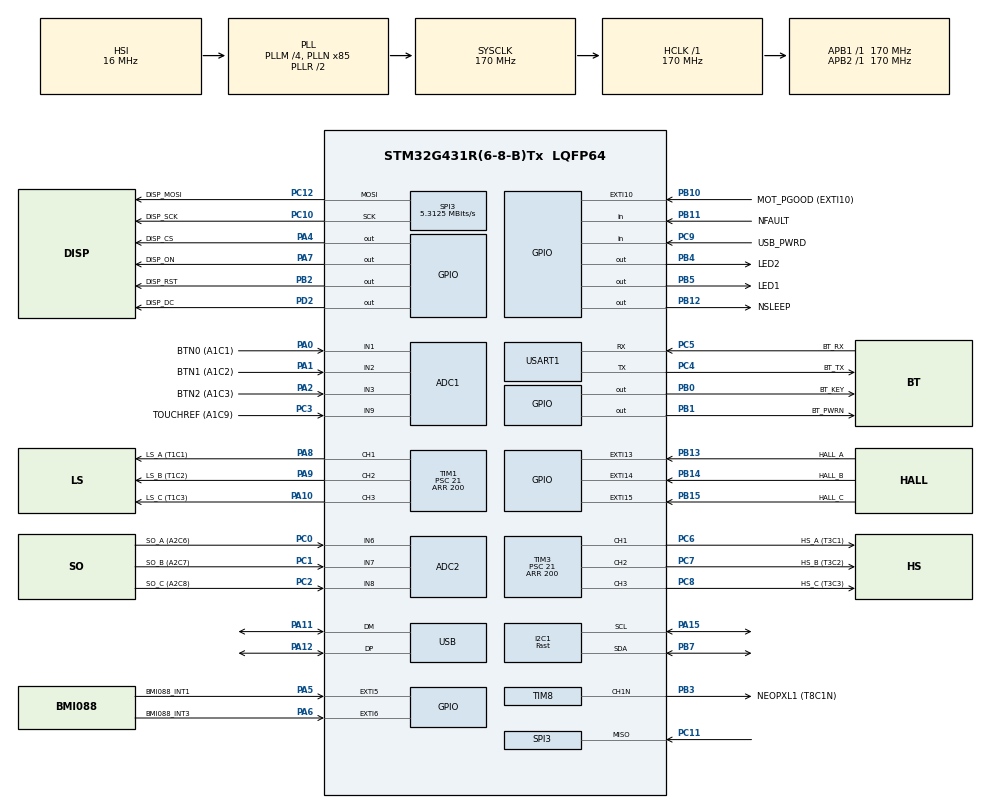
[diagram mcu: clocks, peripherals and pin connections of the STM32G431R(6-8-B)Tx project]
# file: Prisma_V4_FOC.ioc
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ADC1.Channel-0\#ChannelRegularConversion=ADC_CHANNEL_9
ADC1.Channel-1\#ChannelRegularConversion=ADC_CHANNEL_1
ADC1.ClockPrescaler=ADC_CLOCK_ASYNC_DIV4
ADC1.EOCSelection=ADC_EOC_SEQ_CONV
ADC1.NbrOfConversion=2
ADC1.NbrOfConversionFlag=1
ADC1.OffsetNumber-0\#ChannelRegularConversion=ADC_OFFSET_NONE
ADC1.OffsetNumber-1\#ChannelRegularConversion=ADC_OFFSET_NONE
ADC1.Rank-0\#ChannelRegularConversion=1
ADC1.Rank-1\#ChannelRegularConversion=2
ADC1.SamplingTime-0\#ChannelRegularConversion=ADC_SAMPLETIME_24CYCLES_5
ADC1.SamplingTime-1\#ChannelRegularConversion=ADC_SAMPLETIME_6CYCLES_5
ADC1.master=1
ADC2.Channel-0\#ChannelRegularConversion=ADC_CHANNEL_6
ADC2.Channel-1\#ChannelRegularConversion=ADC_CHANNEL_7
ADC2.Channel-2\#ChannelRegularConversion=ADC_CHANNEL_8
ADC2.ClockPrescaler=ADC_CLOCK_ASYNC_DIV4
ADC2.DMAContinuousRequests=ENABLE
ADC2.EOCSelection=ADC_EOC_SEQ_CONV
ADC2.EnableAnalogWatchDog1=true
ADC2.ExternalTrigConv=ADC_EXTERNALTRIG_T1_TRGO2
ADC2.NbrOfConversion=3
ADC2.NbrOfConversionFlag=1
ADC2.OffsetNumber-0\#ChannelRegularConversion=ADC_OFFSET_NONE
ADC2.OffsetNumber-1\#ChannelRegularConversion=ADC_OFFSET_NONE
ADC2.OffsetNumber-2\#ChannelRegularConversion=ADC_OFFSET_NONE
ADC2.Rank-0\#ChannelRegularConversion=1
ADC2.Rank-1\#ChannelRegularConversion=2
ADC2.Rank-2\#ChannelRegularConversion=3
ADC2.SamplingTime-0\#ChannelRegularConversion=ADC_SAMPLETIME_12CYCLES_5
ADC2.SamplingTime-1\#ChannelRegularConversion=ADC_SAMPLETIME_12CYCLES_5
ADC2.SamplingTime-2\#ChannelRegularConversion=ADC_SAMPLETIME_12CYCLES_5
ADC2.WatchdogChannel=ADC_CHANNEL_6
Dma.ADC1.2.Direction=DMA_PERIPH_TO_MEMORY
Dma.ADC1.2.EventEnable=DISABLE
Dma.ADC1.2.Instance=DMA1_Channel2
Dma.ADC1.2.MemDataAlignment=DMA_MDATAALIGN_HALFWORD
Dma.ADC1.2.MemInc=DMA_MINC_ENABLE
Dma.ADC1.2.Mode=DMA_NORMAL
Dma.ADC1.2.PeriphDataAlignment=DMA_PDATAALIGN_HALFWORD
Dma.ADC1.2.PeriphInc=DMA_PINC_DISABLE
Dma.ADC1.2.Polarity=HAL_DMAMUX_REQ_GEN_RISING
Dma.ADC1.2.Priority=DMA_PRIORITY_LOW
Dma.ADC1.2.RequestNumber=1
Dma.ADC1.2.SignalID=NONE
Dma.ADC1.2.SyncEnable=DISABLE
Dma.ADC1.2.SyncPolarity=HAL_DMAMUX_SYNC_NO_EVENT
Dma.ADC1.2.SyncRequestNumber=1
Dma.ADC1.2.SyncSignalID=NONE
Dma.ADC2.0.Direction=DMA_PERIPH_TO_MEMORY
Dma.ADC2.0.EventEnable=DISABLE
Dma.ADC2.0.Instance=DMA1_Channel1
Dma.ADC2.0.MemDataAlignment=DMA_MDATAALIGN_HALFWORD
Dma.ADC2.0.MemInc=DMA_MINC_ENABLE
Dma.ADC2.0.Mode=DMA_CIRCULAR
Dma.ADC2.0.PeriphDataAlignment=DMA_PDATAALIGN_HALFWORD
Dma.ADC2.0.PeriphInc=DMA_PINC_DISABLE
Dma.ADC2.0.Polarity=HAL_DMAMUX_REQ_GEN_RISING
Dma.ADC2.0.Priority=DMA_PRIORITY_LOW
Dma.ADC2.0.RequestNumber=1
Dma.ADC2.0.SignalID=NONE
Dma.ADC2.0.SyncEnable=DISABLE
Dma.ADC2.0.SyncPolarity=HAL_DMAMUX_SYNC_NO_EVENT
Dma.ADC2.0.SyncRequestNumber=1
Dma.ADC2.0.SyncSignalID=NONE
Dma.Request0=ADC2
Dma.Request1=TIM8_CH1
Dma.Request2=ADC1
Dma.TIM8_CH1.1.Direction=DMA_MEMORY_TO_PERIPH
Dma.TIM8_CH1.1.EventEnable=DISABLE
Dma.TIM8_CH1.1.Instance=DMA1_Channel3
Dma.TIM8_CH1.1.MemDataAlignment=DMA_MDATAALIGN_HALFWORD
Dma.TIM8_CH1.1.MemInc=DMA_MINC_ENABLE
Dma.TIM8_CH1.1.Mode=DMA_NORMAL
Dma.TIM8_CH1.1.PeriphDataAlignment=DMA_PDATAALIGN_HALFWORD
Dma.TIM8_CH1.1.PeriphInc=DMA_PINC_DISABLE
Dma.TIM8_CH1.1.Polarity=HAL_DMAMUX_REQ_GEN_RISING
Dma.TIM8_CH1.1.Priority=DMA_PRIORITY_LOW
Dma.TIM8_CH1.1.RequestNumber=1
Dma.TIM8_CH1.1.SignalID=NONE
Dma.TIM8_CH1.1.SyncEnable=DISABLE
Dma.TIM8_CH1.1.SyncPolarity=HAL_DMAMUX_SYNC_NO_EVENT
Dma.TIM8_CH1.1.SyncRequestNumber=1
Dma.TIM8_CH1.1.SyncSignalID=NONE
I2C1.I2C_Speed_Mode=I2C_Fast
I2C1.Timing=0x40621236
Mcu.Family=STM32G4
Mcu.Name=STM32G431R(6-8-B)Tx
Mcu.Package=LQFP64
NVIC.ADC1_2_IRQn=true\:0\:0\:false\:false\:true\:true\:true\:true
NVIC.DMA1_Channel1_IRQn=true\:3\:0\:true\:false\:true\:false\:true\:true
NVIC.DMA1_Channel2_IRQn=true\:0\:0\:false\:false\:true\:false\:true\:true
NVIC.DMA1_Channel3_IRQn=true\:3\:0\:true\:false\:true\:false\:true\:true
NVIC.EXTI15_10_IRQn=true\:1\:0\:true\:false\:false\:true\:false\:true
NVIC.EXTI9_5_IRQn=true\:2\:0\:true\:false\:false\:true\:false\:true
NVIC.PriorityGroup=NVIC_PRIORITYGROUP_4
NVIC.TIM6_DAC_IRQn=true\:0\:0\:false\:false\:true\:true\:true\:true
NVIC.USART1_IRQn=true\:5\:0\:true\:false\:false\:true\:false\:true
NVIC.USB_LP_IRQn=true\:5\:0\:true\:false\:true\:false\:true\:true
PA0.GPIO_Label=BTN0 (A1C1)
PA0.Mode=IN1-Single-Ended
PA0.Signal=ADC1_IN1
PA1.GPIO_Label=BTN1 (A1C2)
PA1.Mode=IN2-Single-Ended
PA1.Signal=ADC1_IN2
PA10.GPIO_Label=LS_C (T1C3)
PA10.Signal=S_TIM1_CH3
PA11.Mode=Device
PA11.Signal=USB_DM
PA12.Mode=Device
PA12.Signal=USB_DP
PA13.Mode=Serial_Wire
PA13.Signal=SYS_JTMS-SWDIO
PA14.Mode=Serial_Wire
PA14.Signal=SYS_JTCK-SWCLK
PA15.Mode=I2C
PA15.Signal=I2C1_SCL
PA2.GPIO_Label=BTN2 (A1C3)
PA2.Mode=IN3-Single-Ended
PA2.Signal=ADC1_IN3
PA4.GPIO_Label=DISP_CS
PA4.Signal=GPIO_Output
PA5.GPIO_Label=BMI088_INT1
PA5.Signal=GPXTI5
PA6.GPIO_Label=BMI088_INT3
PA6.Signal=GPXTI6
PA7.GPIO_Label=DISP_ON
PA7.Signal=GPIO_Output
PA8.GPIO_Label=LS_A (T1C1)
PA8.Signal=S_TIM1_CH1
PA9.GPIO_Label=LS_B (T1C2)
PA9.Signal=S_TIM1_CH2
PB0.GPIO_Label=BT_KEY
PB0.Signal=GPIO_Output
PB1.GPIO_Label=BT_PWRN
PB1.GPIO_ModeDefaultOutputPP=GPIO_MODE_OUTPUT_OD
PB1.GPIO_PuPd=GPIO_NOPULL
PB1.PinState=GPIO_PIN_SET
PB1.Signal=GPIO_Output
PB10.GPIO_Label=MOT_PGOOD (EXTI10)
PB10.Signal=GPXTI10
PB11.GPIO_Label=NFAULT
PB11.GPIO_PuPd=GPIO_PULLUP
PB11.Signal=GPIO_Input
PB12.GPIO_Label=NSLEEP
PB12.Signal=GPIO_Output
PB13.GPIO_Label=HALL_A
PB13.GPIO_ModeDefaultEXTI=GPIO_MODE_IT_RISING_FALLING
PB13.GPIO_PuPd=GPIO_PULLDOWN
PB13.Signal=GPXTI13
PB14.GPIO_Label=HALL_B
PB14.GPIO_ModeDefaultEXTI=GPIO_MODE_IT_RISING_FALLING
PB14.GPIO_PuPd=GPIO_PULLDOWN
PB14.Signal=GPXTI14
PB15.GPIO_Label=HALL_C
PB15.GPIO_ModeDefaultEXTI=GPIO_MODE_IT_RISING_FALLING
PB15.GPIO_PuPd=GPIO_PULLDOWN
PB15.Signal=GPXTI15
PB2.GPIO_Label=DISP_RST
PB2.Signal=GPIO_Output
PB3.GPIO_Label=NEOPXL1 (T8C1N)
PB3.Mode=PWM Generation1 CH1N
PB3.Signal=TIM8_CH1N
PB4.GPIO_Label=LED2
PB4.Signal=GPIO_Output
PB5.GPIO_Label=LED1
PB5.Signal=GPIO_Output
PB6.GPIO_Label=NEOPXL2
PB6.Signal=S_TIM8_CH1
PB7.Mode=I2C
PB7.Signal=I2C1_SDA
PC0.GPIO_Label=SO_A (A2C6)
PC0.Mode=IN6-Single-Ended
PC0.Signal=ADC2_IN6
PC1.GPIO_Label=SO_B (A2C7)
PC1.Mode=IN7-Single-Ended
PC1.Signal=ADC2_IN7
PC10.GPIO_Label=DISP_SCK
PC10.Mode=Full_Duplex_Master
PC10.Signal=SPI3_SCK
PC11.Mode=Full_Duplex_Master
PC11.Signal=SPI3_MISO
PC12.GPIO_Label=DISP_MOSI
PC12.Mode=Full_Duplex_Master
PC12.Signal=SPI3_MOSI
PC2.GPIO_Label=SO_C (A2C8)
PC2.Mode=IN8-Single-Ended
PC2.Signal=ADC2_IN8
PC3.GPIO_Label=TOUCHREF (A1C9)
PC3.Mode=IN9-Single-Ended
PC3.Signal=ADC1_IN9
PC4.GPIO_Label=BT_TX
PC4.Mode=Asynchronous
PC4.Signal=USART1_TX
PC5.GPIO_Label=BT_RX
PC5.Mode=Asynchronous
PC5.Signal=USART1_RX
PC6.GPIO_Label=HS_A (T3C1)
PC6.Signal=S_TIM3_CH1
PC7.GPIO_Label=HS_B (T3C2)
PC7.Signal=S_TIM3_CH2
PC8.GPIO_Label=HS_C (T3C3)
PC8.Signal=S_TIM3_CH3
PC9.GPIO_Label=USB_PWRD
PC9.GPIO_PuPd=GPIO_PULLDOWN
PC9.Signal=GPIO_Input
PD2.GPIO_Label=DISP_DC
PD2.Signal=GPIO_Output
ProjectManager.HeapSize=0x200
ProjectManager.StackSize=0x400
ProjectManager.TargetToolchain=STM32CubeIDE
RCC.ADC12Freq_Value=170000000
RCC.AHBFreq_Value=170000000
RCC.APB1Freq_Value=170000000
RCC.APB1TimFreq_Value=170000000
RCC.APB2Freq_Value=170000000
RCC.APB2TimFreq_Value=170000000
RCC.CK48CLockSelection=RCC_USBCLKSOURCE_HSI48
RCC.CortexFreq_Value=170000000
RCC.EXTERNAL_CLOCK_VALUE=12288000
RCC.HCLKFreq_Value=170000000
RCC.HSE_VALUE=8000000
RCC.HSI48_VALUE=48000000
RCC.HSI_VALUE=16000000
RCC.LSE_VALUE=32768
RCC.PLLM=RCC_PLLM_DIV4
RCC.PLLN=85
RCC.PLLQ=RCC_PLLQ_DIV6
RCC.SYSCLKFreq_VALUE=170000000
RCC.SYSCLKSource=RCC_SYSCLKSOURCE_PLLCLK
RCC.USBFreq_Value=48000000
RCC.VCOOutputFreq_Value=340000000
SH.S_TIM1_CH1.0=TIM1_CH1,PWM Generation1 CH1
SH.S_TIM1_CH2.0=TIM1_CH2,PWM Generation2 CH2
SH.S_TIM1_CH3.0=TIM1_CH3,PWM Generation3 CH3
SH.S_TIM3_CH1.0=TIM3_CH1,PWM Generation1 CH1
SH.S_TIM3_CH2.0=TIM3_CH2,PWM Generation2 CH2
SH.S_TIM3_CH3.0=TIM3_CH3,PWM Generation3 CH3
SH.S_TIM8_CH1.0=TIM8_CH1
SPI3.BaudRatePrescaler=SPI_BAUDRATEPRESCALER_32
SPI3.CalculateBaudRate=5.3125 MBits/s
SPI3.DataSize=SPI_DATASIZE_8BIT
SPI3.Direction=SPI_DIRECTION_2LINES
SPI3.Mode=SPI_MODE_MASTER
SPI3.VirtualType=VM_MASTER
TIM1.Channel-PWM\ Generation1\ CH1=TIM_CHANNEL_1
TIM1.Channel-PWM\ Generation2\ CH2=TIM_CHANNEL_2
TIM1.Channel-PWM\ Generation3\ CH3=TIM_CHANNEL_3
TIM1.CounterMode=TIM_COUNTERMODE_CENTERALIGNED1
TIM1.OC1Preload_PWM=ENABLE
TIM1.OCPolarity_1=TIM_OCPOLARITY_LOW
TIM1.OCPolarity_2=TIM_OCPOLARITY_LOW
TIM1.OCPolarity_3=TIM_OCPOLARITY_LOW
TIM1.PeriodNoDither=200
TIM1.Prescaler=21
TIM1.RepetitionCounter=0
TIM1.TIM_MasterOutputTrigger=TIM_TRGO_ENABLE
TIM1.TIM_MasterOutputTrigger2=TIM_TRGO2_UPDATE
TIM1.TIM_MasterSlaveMode=TIM_MASTERSLAVEMODE_ENABLE
TIM2.Prescaler=1700-1
TIM3.Channel-PWM\ Generation1\ CH1=TIM_CHANNEL_1
TIM3.Channel-PWM\ Generation2\ CH2=TIM_CHANNEL_2
TIM3.Channel-PWM\ Generation3\ CH3=TIM_CHANNEL_3
TIM3.CounterMode=TIM_COUNTERMODE_CENTERALIGNED1
TIM3.OCPolarity_1=TIM_OCPOLARITY_HIGH
TIM3.OCPolarity_2=TIM_OCPOLARITY_HIGH
TIM3.OCPolarity_3=TIM_OCPOLARITY_HIGH
TIM3.PeriodNoDither=200
TIM3.Prescaler=21
TIM3.TIM_MasterOutputTrigger=TIM_TRGO_UPDATE
TIM3.TIM_MasterSlaveMode=TIM_MASTERSLAVEMODE_ENABLE
TIM6.PeriodNoDither=10000-1
TIM6.Prescaler=170-1
TIM8.Channel-PWM\ Generation1\ CH1N=TIM_CHANNEL_1
TIM8.OCNPolarity_1=TIM_OCNPOLARITY_HIGH
TIM8.PeriodNoDither=212
USART1.VirtualMode-Asynchronous=VM_ASYNC
USB_DEVICE.CLASS_NAME_FS=CDC
USB_DEVICE.VirtualMode=Cdc
USB_DEVICE.VirtualModeFS=Cdc_FS
VP_SYS_VS_DBSignals.Mode=DisableDeadBatterySignals
VP_TIM1_VS_ClockSourceINT.Mode=Internal
VP_TIM2_VS_ClockSourceINT.Mode=Internal
VP_TIM3_VS_ClockSourceINT.Mode=Internal
VP_TIM3_VS_ClockSourceITR.Mode=TriggerSource_ITR0
VP_TIM3_VS_ControllerModeTrigger.Mode=Trigger Mode
VP_TIM6_VS_ClockSourceINT.Mode=Enable_Timer
VP_USB_DEVICE_VS_USB_DEVICE_CDC_FS.Mode=CDC_FS
board=custom

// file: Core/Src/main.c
/* USER CODE BEGIN Header */
/**
  ******************************************************************************
  * @file           : main.c
  * @brief          : Main program body
  ******************************************************************************
  * @attention
  *
  * Copyright (c) 2025 STMicroelectronics.
  * All rights reserved.
  *
  * This software is licensed under terms that can be found in the LICENSE file
  * in the root directory of this software component.
  * If no LICENSE file comes with this software, it is provided AS-IS.
  *
  ******************************************************************************
  */
/* USER CODE END Header */
#include "main.h"
#include "usb_device.h"

/* USER CODE BEGIN Includes */
#include "boot.h"
/* USER CODE END Includes */

ADC_HandleTypeDef hadc1;
ADC_HandleTypeDef hadc2;
DMA_HandleTypeDef hdma_adc1;
DMA_HandleTypeDef hdma_adc2;

I2C_HandleTypeDef hi2c1;

SPI_HandleTypeDef hspi3;

TIM_HandleTypeDef htim1;
TIM_HandleTypeDef htim2;
TIM_HandleTypeDef htim3;
TIM_HandleTypeDef htim6;
TIM_HandleTypeDef htim8;
DMA_HandleTypeDef hdma_tim8_ch1;

UART_HandleTypeDef huart1;

void SystemClock_Config(void);
static void MX_GPIO_Init(void);
static void MX_DMA_Init(void);
static void MX_I2C1_Init(void);
static void MX_USART1_UART_Init(void);
static void MX_ADC1_Init(void);
static void MX_TIM1_Init(void);
static void MX_TIM3_Init(void);
static void MX_TIM6_Init(void);
static void MX_SPI3_Init(void);
static void MX_TIM2_Init(void);
static void MX_ADC2_Init(void);
static void MX_TIM8_Init(void);
/* USER CODE BEGIN PFP */
void main_user();

/* USER CODE END PFP */

/* USER CODE BEGIN 0 */
void ADC1_ReInit()
{
	MX_ADC1_Init();
}
/* USER CODE END 0 */

int main(void)
{

  /* USER CODE BEGIN 1 */
  boot_stage1();

  /* USER CODE END 1 */

  /* MCU Configuration--------------------------------------------------------*/

  /* Reset of all peripherals, Initializes the Flash interface and the Systick. */
  HAL_Init();

  /* Configure the system clock */
  SystemClock_Config();

  /* USER CODE BEGIN SysInit */
  boot_stage2();
#if 0
  /* See eg:   https://blog.martincowen.me.uk/how-to-harness-the-power-of-generated-code-in-stm32cubeide-with-your-custom-code.html
   *
   * This disables the initialization but is compatible whit STM32CubeIDE code generation/updating, since
   * we only add code in the user code sections ;-)
   *
   * Reason for disabling here and copying most in the user section below is, that MX_Device_Init causes a reset
   * when USB not connected
   *
   *
   */
  /* USER CODE END SysInit */

  /* Initialize all configured peripherals */
  MX_GPIO_Init();
  MX_DMA_Init();
  MX_USB_Device_Init();
  MX_I2C1_Init();
  MX_USART1_UART_Init();
  MX_ADC1_Init();
  MX_TIM1_Init();
  MX_TIM3_Init();
  MX_TIM6_Init();
  MX_SPI3_Init();
  MX_TIM2_Init();
  MX_ADC2_Init();
  MX_TIM8_Init();
  /* USER CODE BEGIN 2 */
#endif
   MX_GPIO_Init();
   MX_DMA_Init();

   // Only activate USB CDC if USB is connected
   if (HAL_GPIO_ReadPin(USB_PWRD_GPIO_Port, USB_PWRD_Pin)==1)
   {
	   MX_USB_Device_Init();
   }
   MX_I2C1_Init();
   MX_USART1_UART_Init();
   MX_ADC1_Init();
   MX_TIM1_Init();
   MX_TIM3_Init();
   MX_TIM6_Init();
   MX_TIM2_Init();
   MX_SPI3_Init();
   MX_ADC2_Init();
   MX_TIM8_Init();
  main_user();

  /* USER CODE END 2 */

  /* Infinite loop */
  while (1)
  {

  }
}

void SystemClock_Config(void)
{
  RCC_OscInitTypeDef RCC_OscInitStruct = {0};
  RCC_ClkInitTypeDef RCC_ClkInitStruct = {0};

  /** Configure the main internal regulator output voltage
  */
  HAL_PWREx_ControlVoltageScaling(PWR_REGULATOR_VOLTAGE_SCALE1_BOOST);

  /** Initializes the RCC Oscillators according to the specified parameters
  * in the RCC_OscInitTypeDef structure.
  */
  RCC_OscInitStruct.OscillatorType = RCC_OSCILLATORTYPE_HSI|RCC_OSCILLATORTYPE_HSI48;
  RCC_OscInitStruct.HSIState = RCC_HSI_ON;
  RCC_OscInitStruct.HSICalibrationValue = RCC_HSICALIBRATION_DEFAULT;
  RCC_OscInitStruct.HSI48State = RCC_HSI48_ON;
  RCC_OscInitStruct.PLL.PLLState = RCC_PLL_ON;
  RCC_OscInitStruct.PLL.PLLSource = RCC_PLLSOURCE_HSI;
  RCC_OscInitStruct.PLL.PLLM = RCC_PLLM_DIV4;
  RCC_OscInitStruct.PLL.PLLN = 85;
  RCC_OscInitStruct.PLL.PLLP = RCC_PLLP_DIV2;
  RCC_OscInitStruct.PLL.PLLQ = RCC_PLLQ_DIV6;
  RCC_OscInitStruct.PLL.PLLR = RCC_PLLR_DIV2;
  if (HAL_RCC_OscConfig(&RCC_OscInitStruct) != HAL_OK)
  {
    Error_Handler();
  }

  /** Initializes the CPU, AHB and APB buses clocks
  */
  RCC_ClkInitStruct.ClockType = RCC_CLOCKTYPE_HCLK|RCC_CLOCKTYPE_SYSCLK
                              |RCC_CLOCKTYPE_PCLK1|RCC_CLOCKTYPE_PCLK2;
  RCC_ClkInitStruct.SYSCLKSource = RCC_SYSCLKSOURCE_PLLCLK;
  RCC_ClkInitStruct.AHBCLKDivider = RCC_SYSCLK_DIV1;
  RCC_ClkInitStruct.APB1CLKDivider = RCC_HCLK_DIV1;
  RCC_ClkInitStruct.APB2CLKDivider = RCC_HCLK_DIV1;

  if (HAL_RCC_ClockConfig(&RCC_ClkInitStruct, FLASH_LATENCY_4) != HAL_OK)
  {
    Error_Handler();
  }
}

static void MX_ADC1_Init(void)
{

  ADC_MultiModeTypeDef multimode = {0};
  ADC_ChannelConfTypeDef sConfig = {0};

  /** Common config
  */
  hadc1.Instance = ADC1;
  hadc1.Init.ClockPrescaler = ADC_CLOCK_ASYNC_DIV4;
  hadc1.Init.Resolution = ADC_RESOLUTION_12B;
  hadc1.Init.DataAlign = ADC_DATAALIGN_RIGHT;
  hadc1.Init.GainCompensation = 0;
  hadc1.Init.ScanConvMode = ADC_SCAN_ENABLE;
  hadc1.Init.EOCSelection = ADC_EOC_SEQ_CONV;
  hadc1.Init.LowPowerAutoWait = DISABLE;
  hadc1.Init.ContinuousConvMode = DISABLE;
  hadc1.Init.NbrOfConversion = 2;
  hadc1.Init.DiscontinuousConvMode = DISABLE;
  hadc1.Init.ExternalTrigConv = ADC_SOFTWARE_START;
  hadc1.Init.ExternalTrigConvEdge = ADC_EXTERNALTRIGCONVEDGE_NONE;
  hadc1.Init.DMAContinuousRequests = DISABLE;
  hadc1.Init.Overrun = ADC_OVR_DATA_PRESERVED;
  hadc1.Init.OversamplingMode = DISABLE;
  if (HAL_ADC_Init(&hadc1) != HAL_OK)
  {
    Error_Handler();
  }

  /** Configure the ADC multi-mode
  */
  multimode.Mode = ADC_MODE_INDEPENDENT;
  if (HAL_ADCEx_MultiModeConfigChannel(&hadc1, &multimode) != HAL_OK)
  {
    Error_Handler();
  }

  /** Configure Regular Channel
  */
  sConfig.Channel = ADC_CHANNEL_9;
  sConfig.Rank = ADC_REGULAR_RANK_1;
  sConfig.SamplingTime = ADC_SAMPLETIME_24CYCLES_5;
  sConfig.SingleDiff = ADC_SINGLE_ENDED;
  sConfig.OffsetNumber = ADC_OFFSET_NONE;
  sConfig.Offset = 0;
  if (HAL_ADC_ConfigChannel(&hadc1, &sConfig) != HAL_OK)
  {
    Error_Handler();
  }

  /** Configure Regular Channel
  */
  sConfig.Channel = ADC_CHANNEL_1;
  sConfig.Rank = ADC_REGULAR_RANK_2;
  sConfig.SamplingTime = ADC_SAMPLETIME_6CYCLES_5;
  if (HAL_ADC_ConfigChannel(&hadc1, &sConfig) != HAL_OK)
  {
    Error_Handler();
  }

}

static void MX_ADC2_Init(void)
{

  ADC_AnalogWDGConfTypeDef AnalogWDGConfig = {0};
  ADC_ChannelConfTypeDef sConfig = {0};

  /** Common config
  */
  hadc2.Instance = ADC2;
  hadc2.Init.ClockPrescaler = ADC_CLOCK_ASYNC_DIV4;
  hadc2.Init.Resolution = ADC_RESOLUTION_12B;
  hadc2.Init.DataAlign = ADC_DATAALIGN_RIGHT;
  hadc2.Init.GainCompensation = 0;
  hadc2.Init.ScanConvMode = ADC_SCAN_ENABLE;
  hadc2.Init.EOCSelection = ADC_EOC_SEQ_CONV;
  hadc2.Init.LowPowerAutoWait = DISABLE;
  hadc2.Init.ContinuousConvMode = DISABLE;
  hadc2.Init.NbrOfConversion = 3;
  hadc2.Init.DiscontinuousConvMode = DISABLE;
  hadc2.Init.ExternalTrigConv = ADC_EXTERNALTRIG_T1_TRGO2;
  hadc2.Init.ExternalTrigConvEdge = ADC_EXTERNALTRIGCONVEDGE_RISING;
  hadc2.Init.DMAContinuousRequests = ENABLE;
  hadc2.Init.Overrun = ADC_OVR_DATA_PRESERVED;
  hadc2.Init.OversamplingMode = DISABLE;
  if (HAL_ADC_Init(&hadc2) != HAL_OK)
  {
    Error_Handler();
  }

  /** Configure Analog WatchDog 1
  */
  AnalogWDGConfig.WatchdogNumber = ADC_ANALOGWATCHDOG_1;
  AnalogWDGConfig.WatchdogMode = ADC_ANALOGWATCHDOG_SINGLE_REG;
  AnalogWDGConfig.Channel = ADC_CHANNEL_6;
  AnalogWDGConfig.ITMode = DISABLE;
  AnalogWDGConfig.HighThreshold = 0;
  AnalogWDGConfig.LowThreshold = 0;
  AnalogWDGConfig.FilteringConfig = ADC_AWD_FILTERING_NONE;
  if (HAL_ADC_AnalogWDGConfig(&hadc2, &AnalogWDGConfig) != HAL_OK)
  {
    Error_Handler();
  }

  /** Configure Regular Channel
  */
  sConfig.Channel = ADC_CHANNEL_6;
  sConfig.Rank = ADC_REGULAR_RANK_1;
  sConfig.SamplingTime = ADC_SAMPLETIME_12CYCLES_5;
  sConfig.SingleDiff = ADC_SINGLE_ENDED;
  sConfig.OffsetNumber = ADC_OFFSET_NONE;
  sConfig.Offset = 0;
  if (HAL_ADC_ConfigChannel(&hadc2, &sConfig) != HAL_OK)
  {
    Error_Handler();
  }

  /** Configure Regular Channel
  */
  sConfig.Channel = ADC_CHANNEL_7;
  sConfig.Rank = ADC_REGULAR_RANK_2;
  if (HAL_ADC_ConfigChannel(&hadc2, &sConfig) != HAL_OK)
  {
    Error_Handler();
  }

  /** Configure Regular Channel
  */
  sConfig.Channel = ADC_CHANNEL_8;
  sConfig.Rank = ADC_REGULAR_RANK_3;
  if (HAL_ADC_ConfigChannel(&hadc2, &sConfig) != HAL_OK)
  {
    Error_Handler();
  }

}

static void MX_I2C1_Init(void)
{

  hi2c1.Instance = I2C1;
  hi2c1.Init.Timing = 0x40621236;
  hi2c1.Init.OwnAddress1 = 0;
  hi2c1.Init.AddressingMode = I2C_ADDRESSINGMODE_7BIT;
  hi2c1.Init.DualAddressMode = I2C_DUALADDRESS_DISABLE;
  hi2c1.Init.OwnAddress2 = 0;
  hi2c1.Init.OwnAddress2Masks = I2C_OA2_NOMASK;
  hi2c1.Init.GeneralCallMode = I2C_GENERALCALL_DISABLE;
  hi2c1.Init.NoStretchMode = I2C_NOSTRETCH_DISABLE;
  if (HAL_I2C_Init(&hi2c1) != HAL_OK)
  {
    Error_Handler();
  }

  /** Configure Analogue filter
  */
  if (HAL_I2CEx_ConfigAnalogFilter(&hi2c1, I2C_ANALOGFILTER_ENABLE) != HAL_OK)
  {
    Error_Handler();
  }

  /** Configure Digital filter
  */
  if (HAL_I2CEx_ConfigDigitalFilter(&hi2c1, 0) != HAL_OK)
  {
    Error_Handler();
  }

}

static void MX_SPI3_Init(void)
{

  /* SPI3 parameter configuration*/
  hspi3.Instance = SPI3;
  hspi3.Init.Mode = SPI_MODE_MASTER;
  hspi3.Init.Direction = SPI_DIRECTION_2LINES;
  hspi3.Init.DataSize = SPI_DATASIZE_8BIT;
  hspi3.Init.CLKPolarity = SPI_POLARITY_LOW;
  hspi3.Init.CLKPhase = SPI_PHASE_1EDGE;
  hspi3.Init.NSS = SPI_NSS_SOFT;
  hspi3.Init.BaudRatePrescaler = SPI_BAUDRATEPRESCALER_32;
  hspi3.Init.FirstBit = SPI_FIRSTBIT_MSB;
  hspi3.Init.TIMode = SPI_TIMODE_DISABLE;
  hspi3.Init.CRCCalculation = SPI_CRCCALCULATION_DISABLE;
  hspi3.Init.CRCPolynomial = 7;
  hspi3.Init.CRCLength = SPI_CRC_LENGTH_DATASIZE;
  hspi3.Init.NSSPMode = SPI_NSS_PULSE_ENABLE;
  if (HAL_SPI_Init(&hspi3) != HAL_OK)
  {
    Error_Handler();
  }

}

static void MX_TIM1_Init(void)
{

  TIM_ClockConfigTypeDef sClockSourceConfig = {0};
  TIM_MasterConfigTypeDef sMasterConfig = {0};
  TIM_OC_InitTypeDef sConfigOC = {0};
  TIM_BreakDeadTimeConfigTypeDef sBreakDeadTimeConfig = {0};

  htim1.Instance = TIM1;
  htim1.Init.Prescaler = 21;
  htim1.Init.CounterMode = TIM_COUNTERMODE_CENTERALIGNED1;
  htim1.Init.Period = 200;
  htim1.Init.ClockDivision = TIM_CLOCKDIVISION_DIV1;
  htim1.Init.RepetitionCounter = 0;
  htim1.Init.AutoReloadPreload = TIM_AUTORELOAD_PRELOAD_DISABLE;
  if (HAL_TIM_Base_Init(&htim1) != HAL_OK)
  {
    Error_Handler();
  }
  sClockSourceConfig.ClockSource = TIM_CLOCKSOURCE_INTERNAL;
  if (HAL_TIM_ConfigClockSource(&htim1, &sClockSourceConfig) != HAL_OK)
  {
    Error_Handler();
  }
  if (HAL_TIM_PWM_Init(&htim1) != HAL_OK)
  {
    Error_Handler();
  }
  sMasterConfig.MasterOutputTrigger = TIM_TRGO_ENABLE;
  sMasterConfig.MasterOutputTrigger2 = TIM_TRGO2_UPDATE;
  sMasterConfig.MasterSlaveMode = TIM_MASTERSLAVEMODE_ENABLE;
  if (HAL_TIMEx_MasterConfigSynchronization(&htim1, &sMasterConfig) != HAL_OK)
  {
    Error_Handler();
  }
  sConfigOC.OCMode = TIM_OCMODE_PWM1;
  sConfigOC.Pulse = 0;
  sConfigOC.OCPolarity = TIM_OCPOLARITY_LOW;
  sConfigOC.OCNPolarity = TIM_OCNPOLARITY_HIGH;
  sConfigOC.OCFastMode = TIM_OCFAST_DISABLE;
  sConfigOC.OCIdleState = TIM_OCIDLESTATE_RESET;
  sConfigOC.OCNIdleState = TIM_OCNIDLESTATE_RESET;
  if (HAL_TIM_PWM_ConfigChannel(&htim1, &sConfigOC, TIM_CHANNEL_1) != HAL_OK)
  {
    Error_Handler();
  }
  if (HAL_TIM_PWM_ConfigChannel(&htim1, &sConfigOC, TIM_CHANNEL_2) != HAL_OK)
  {
    Error_Handler();
  }
  if (HAL_TIM_PWM_ConfigChannel(&htim1, &sConfigOC, TIM_CHANNEL_3) != HAL_OK)
  {
    Error_Handler();
  }
  sBreakDeadTimeConfig.OffStateRunMode = TIM_OSSR_DISABLE;
  sBreakDeadTimeConfig.OffStateIDLEMode = TIM_OSSI_DISABLE;
  sBreakDeadTimeConfig.LockLevel = TIM_LOCKLEVEL_OFF;
  sBreakDeadTimeConfig.DeadTime = 0;
  sBreakDeadTimeConfig.BreakState = TIM_BREAK_DISABLE;
  sBreakDeadTimeConfig.BreakPolarity = TIM_BREAKPOLARITY_HIGH;
  sBreakDeadTimeConfig.BreakFilter = 0;
  sBreakDeadTimeConfig.BreakAFMode = TIM_BREAK_AFMODE_INPUT;
  sBreakDeadTimeConfig.Break2State = TIM_BREAK2_DISABLE;
  sBreakDeadTimeConfig.Break2Polarity = TIM_BREAK2POLARITY_HIGH;
  sBreakDeadTimeConfig.Break2Filter = 0;
  sBreakDeadTimeConfig.Break2AFMode = TIM_BREAK_AFMODE_INPUT;
  sBreakDeadTimeConfig.AutomaticOutput = TIM_AUTOMATICOUTPUT_DISABLE;
  if (HAL_TIMEx_ConfigBreakDeadTime(&htim1, &sBreakDeadTimeConfig) != HAL_OK)
  {
    Error_Handler();
  }
  HAL_TIM_MspPostInit(&htim1);

}

static void MX_TIM2_Init(void)
{

  TIM_ClockConfigTypeDef sClockSourceConfig = {0};
  TIM_MasterConfigTypeDef sMasterConfig = {0};

  htim2.Instance = TIM2;
  htim2.Init.Prescaler = 1700-1;
  htim2.Init.CounterMode = TIM_COUNTERMODE_UP;
  htim2.Init.Period = 4294967295;
  htim2.Init.ClockDivision = TIM_CLOCKDIVISION_DIV1;
  htim2.Init.AutoReloadPreload = TIM_AUTORELOAD_PRELOAD_DISABLE;
  if (HAL_TIM_Base_Init(&htim2) != HAL_OK)
  {
    Error_Handler();
  }
  sClockSourceConfig.ClockSource = TIM_CLOCKSOURCE_INTERNAL;
  if (HAL_TIM_ConfigClockSource(&htim2, &sClockSourceConfig) != HAL_OK)
  {
    Error_Handler();
  }
  sMasterConfig.MasterOutputTrigger = TIM_TRGO_RESET;
  sMasterConfig.MasterSlaveMode = TIM_MASTERSLAVEMODE_DISABLE;
  if (HAL_TIMEx_MasterConfigSynchronization(&htim2, &sMasterConfig) != HAL_OK)
  {
    Error_Handler();
  }

}

static void MX_TIM3_Init(void)
{

  TIM_ClockConfigTypeDef sClockSourceConfig = {0};
  TIM_SlaveConfigTypeDef sSlaveConfig = {0};
  TIM_MasterConfigTypeDef sMasterConfig = {0};
  TIM_OC_InitTypeDef sConfigOC = {0};

  htim3.Instance = TIM3;
  htim3.Init.Prescaler = 21;
  htim3.Init.CounterMode = TIM_COUNTERMODE_CENTERALIGNED1;
  htim3.Init.Period = 200;
  htim3.Init.ClockDivision = TIM_CLOCKDIVISION_DIV1;
  htim3.Init.AutoReloadPreload = TIM_AUTORELOAD_PRELOAD_DISABLE;
  if (HAL_TIM_Base_Init(&htim3) != HAL_OK)
  {
    Error_Handler();
  }
  sClockSourceConfig.ClockSource = TIM_CLOCKSOURCE_INTERNAL;
  if (HAL_TIM_ConfigClockSource(&htim3, &sClockSourceConfig) != HAL_OK)
  {
    Error_Handler();
  }
  if (HAL_TIM_PWM_Init(&htim3) != HAL_OK)
  {
    Error_Handler();
  }
  sSlaveConfig.SlaveMode = TIM_SLAVEMODE_TRIGGER;
  sSlaveConfig.InputTrigger = TIM_TS_ITR0;
  if (HAL_TIM_SlaveConfigSynchro(&htim3, &sSlaveConfig) != HAL_OK)
  {
    Error_Handler();
  }
  sMasterConfig.MasterOutputTrigger = TIM_TRGO_UPDATE;
  sMasterConfig.MasterSlaveMode = TIM_MASTERSLAVEMODE_ENABLE;
  if (HAL_TIMEx_MasterConfigSynchronization(&htim3, &sMasterConfig) != HAL_OK)
  {
    Error_Handler();
  }
  sConfigOC.OCMode = TIM_OCMODE_PWM1;
  sConfigOC.Pulse = 0;
  sConfigOC.OCPolarity = TIM_OCPOLARITY_HIGH;
  sConfigOC.OCFastMode = TIM_OCFAST_DISABLE;
  if (HAL_TIM_PWM_ConfigChannel(&htim3, &sConfigOC, TIM_CHANNEL_1) != HAL_OK)
  {
    Error_Handler();
  }
  if (HAL_TIM_PWM_ConfigChannel(&htim3, &sConfigOC, TIM_CHANNEL_2) != HAL_OK)
  {
    Error_Handler();
  }
  if (HAL_TIM_PWM_ConfigChannel(&htim3, &sConfigOC, TIM_CHANNEL_3) != HAL_OK)
  {
    Error_Handler();
  }
  HAL_TIM_MspPostInit(&htim3);

}

static void MX_TIM6_Init(void)
{

  TIM_MasterConfigTypeDef sMasterConfig = {0};

  htim6.Instance = TIM6;
  htim6.Init.Prescaler = 170-1;
  htim6.Init.CounterMode = TIM_COUNTERMODE_UP;
  htim6.Init.Period = 9999;
  htim6.Init.AutoReloadPreload = TIM_AUTORELOAD_PRELOAD_DISABLE;
  if (HAL_TIM_Base_Init(&htim6) != HAL_OK)
  {
    Error_Handler();
  }
  sMasterConfig.MasterOutputTrigger = TIM_TRGO_RESET;
  sMasterConfig.MasterSlaveMode = TIM_MASTERSLAVEMODE_DISABLE;
  if (HAL_TIMEx_MasterConfigSynchronization(&htim6, &sMasterConfig) != HAL_OK)
  {
    Error_Handler();
  }

}

static void MX_TIM8_Init(void)
{

  TIM_MasterConfigTypeDef sMasterConfig = {0};
  TIM_OC_InitTypeDef sConfigOC = {0};
  TIM_BreakDeadTimeConfigTypeDef sBreakDeadTimeConfig = {0};

  htim8.Instance = TIM8;
  htim8.Init.Prescaler = 0;
  htim8.Init.CounterMode = TIM_COUNTERMODE_UP;
  htim8.Init.Period = 212;
  htim8.Init.ClockDivision = TIM_CLOCKDIVISION_DIV1;
  htim8.Init.RepetitionCounter = 0;
  htim8.Init.AutoReloadPreload = TIM_AUTORELOAD_PRELOAD_DISABLE;
  if (HAL_TIM_PWM_Init(&htim8) != HAL_OK)
  {
    Error_Handler();
  }
  sMasterConfig.MasterOutputTrigger = TIM_TRGO_RESET;
  sMasterConfig.MasterOutputTrigger2 = TIM_TRGO2_RESET;
  sMasterConfig.MasterSlaveMode = TIM_MASTERSLAVEMODE_DISABLE;
  if (HAL_TIMEx_MasterConfigSynchronization(&htim8, &sMasterConfig) != HAL_OK)
  {
    Error_Handler();
  }
  sConfigOC.OCMode = TIM_OCMODE_PWM1;
  sConfigOC.Pulse = 0;
  sConfigOC.OCPolarity = TIM_OCPOLARITY_HIGH;
  sConfigOC.OCNPolarity = TIM_OCNPOLARITY_HIGH;
  sConfigOC.OCFastMode = TIM_OCFAST_DISABLE;
  sConfigOC.OCIdleState = TIM_OCIDLESTATE_RESET;
  sConfigOC.OCNIdleState = TIM_OCNIDLESTATE_RESET;
  if (HAL_TIM_PWM_ConfigChannel(&htim8, &sConfigOC, TIM_CHANNEL_1) != HAL_OK)
  {
    Error_Handler();
  }
  sBreakDeadTimeConfig.OffStateRunMode = TIM_OSSR_DISABLE;
  sBreakDeadTimeConfig.OffStateIDLEMode = TIM_OSSI_DISABLE;
  sBreakDeadTimeConfig.LockLevel = TIM_LOCKLEVEL_OFF;
  sBreakDeadTimeConfig.DeadTime = 0;
  sBreakDeadTimeConfig.BreakState = TIM_BREAK_DISABLE;
  sBreakDeadTimeConfig.BreakPolarity = TIM_BREAKPOLARITY_HIGH;
  sBreakDeadTimeConfig.BreakFilter = 0;
  sBreakDeadTimeConfig.BreakAFMode = TIM_BREAK_AFMODE_INPUT;
  sBreakDeadTimeConfig.Break2State = TIM_BREAK2_DISABLE;
  sBreakDeadTimeConfig.Break2Polarity = TIM_BREAK2POLARITY_HIGH;
  sBreakDeadTimeConfig.Break2Filter = 0;
  sBreakDeadTimeConfig.Break2AFMode = TIM_BREAK_AFMODE_INPUT;
  sBreakDeadTimeConfig.AutomaticOutput = TIM_AUTOMATICOUTPUT_DISABLE;
  if (HAL_TIMEx_ConfigBreakDeadTime(&htim8, &sBreakDeadTimeConfig) != HAL_OK)
  {
    Error_Handler();
  }
  HAL_TIM_MspPostInit(&htim8);

}

static void MX_USART1_UART_Init(void)
{

  huart1.Instance = USART1;
  huart1.Init.BaudRate = 115200;
  huart1.Init.WordLength = UART_WORDLENGTH_8B;
  huart1.Init.StopBits = UART_STOPBITS_1;
  huart1.Init.Parity = UART_PARITY_NONE;
  huart1.Init.Mode = UART_MODE_TX_RX;
  huart1.Init.HwFlowCtl = UART_HWCONTROL_NONE;
  huart1.Init.OverSampling = UART_OVERSAMPLING_16;
  huart1.Init.OneBitSampling = UART_ONE_BIT_SAMPLE_DISABLE;
  huart1.Init.ClockPrescaler = UART_PRESCALER_DIV1;
  huart1.AdvancedInit.AdvFeatureInit = UART_ADVFEATURE_NO_INIT;
  if (HAL_UART_Init(&huart1) != HAL_OK)
  {
    Error_Handler();
  }
  if (HAL_UARTEx_SetTxFifoThreshold(&huart1, UART_TXFIFO_THRESHOLD_1_8) != HAL_OK)
  {
    Error_Handler();
  }
  if (HAL_UARTEx_SetRxFifoThreshold(&huart1, UART_RXFIFO_THRESHOLD_1_8) != HAL_OK)
  {
    Error_Handler();
  }
  if (HAL_UARTEx_DisableFifoMode(&huart1) != HAL_OK)
  {
    Error_Handler();
  }

}

static void MX_DMA_Init(void)
{

  /* DMA controller clock enable */
  __HAL_RCC_DMAMUX1_CLK_ENABLE();
  __HAL_RCC_DMA1_CLK_ENABLE();

  /* DMA interrupt init */
  /* DMA1_Channel1_IRQn interrupt configuration */
  HAL_NVIC_SetPriority(DMA1_Channel1_IRQn, 3, 0);
  HAL_NVIC_EnableIRQ(DMA1_Channel1_IRQn);
  /* DMA1_Channel2_IRQn interrupt configuration */
  HAL_NVIC_SetPriority(DMA1_Channel2_IRQn, 0, 0);
  HAL_NVIC_EnableIRQ(DMA1_Channel2_IRQn);
  /* DMA1_Channel3_IRQn interrupt configuration */
  HAL_NVIC_SetPriority(DMA1_Channel3_IRQn, 3, 0);
  HAL_NVIC_EnableIRQ(DMA1_Channel3_IRQn);

}

static void MX_GPIO_Init(void)
{
  GPIO_InitTypeDef GPIO_InitStruct = {0};

  /* GPIO Ports Clock Enable */
  __HAL_RCC_GPIOC_CLK_ENABLE();
  __HAL_RCC_GPIOA_CLK_ENABLE();
  __HAL_RCC_GPIOB_CLK_ENABLE();
  __HAL_RCC_GPIOD_CLK_ENABLE();

  /*Configure GPIO pin Output Level */
  HAL_GPIO_WritePin(GPIOA, DISP_CS_Pin|DISP_ON_Pin, GPIO_PIN_RESET);

  /*Configure GPIO pin Output Level */
  HAL_GPIO_WritePin(GPIOB, BT_KEY_Pin|DISP_RST_Pin|NSLEEP_Pin|LED2_Pin
                          |LED1_Pin, GPIO_PIN_RESET);

  /*Configure GPIO pin Output Level */
  HAL_GPIO_WritePin(BT_PWRN_GPIO_Port, BT_PWRN_Pin, GPIO_PIN_SET);

  /*Configure GPIO pin Output Level */
  HAL_GPIO_WritePin(DISP_DC_GPIO_Port, DISP_DC_Pin, GPIO_PIN_RESET);

  /*Configure GPIO pins : DISP_CS_Pin DISP_ON_Pin */
  GPIO_InitStruct.Pin = DISP_CS_Pin|DISP_ON_Pin;
  GPIO_InitStruct.Mode = GPIO_MODE_OUTPUT_PP;
  GPIO_InitStruct.Pull = GPIO_NOPULL;
  GPIO_InitStruct.Speed = GPIO_SPEED_FREQ_LOW;
  HAL_GPIO_Init(GPIOA, &GPIO_InitStruct);

  /*Configure GPIO pins : BMI088_INT1_Pin BMI088_INT3_Pin */
  GPIO_InitStruct.Pin = BMI088_INT1_Pin|BMI088_INT3_Pin;
  GPIO_InitStruct.Mode = GPIO_MODE_IT_RISING;
  GPIO_InitStruct.Pull = GPIO_NOPULL;
  HAL_GPIO_Init(GPIOA, &GPIO_InitStruct);

  /*Configure GPIO pins : BT_KEY_Pin DISP_RST_Pin NSLEEP_Pin LED2_Pin
                           LED1_Pin */
  GPIO_InitStruct.Pin = BT_KEY_Pin|DISP_RST_Pin|NSLEEP_Pin|LED2_Pin
                          |LED1_Pin;
  GPIO_InitStruct.Mode = GPIO_MODE_OUTPUT_PP;
  GPIO_InitStruct.Pull = GPIO_NOPULL;
  GPIO_InitStruct.Speed = GPIO_SPEED_FREQ_LOW;
  HAL_GPIO_Init(GPIOB, &GPIO_InitStruct);

  /*Configure GPIO pin : BT_PWRN_Pin */
  GPIO_InitStruct.Pin = BT_PWRN_Pin;
  GPIO_InitStruct.Mode = GPIO_MODE_OUTPUT_OD;
  GPIO_InitStruct.Pull = GPIO_NOPULL;
  GPIO_InitStruct.Speed = GPIO_SPEED_FREQ_LOW;
  HAL_GPIO_Init(BT_PWRN_GPIO_Port, &GPIO_InitStruct);

  /*Configure GPIO pin : MOT_PGOOD_Pin */
  GPIO_InitStruct.Pin = MOT_PGOOD_Pin;
  GPIO_InitStruct.Mode = GPIO_MODE_IT_RISING;
  GPIO_InitStruct.Pull = GPIO_NOPULL;
  HAL_GPIO_Init(MOT_PGOOD_GPIO_Port, &GPIO_InitStruct);

  /*Configure GPIO pin : NFAULT_Pin */
  GPIO_InitStruct.Pin = NFAULT_Pin;
  GPIO_InitStruct.Mode = GPIO_MODE_INPUT;
  GPIO_InitStruct.Pull = GPIO_PULLUP;
  HAL_GPIO_Init(NFAULT_GPIO_Port, &GPIO_InitStruct);

  /*Configure GPIO pins : HALL_A_Pin HALL_B_Pin HALL_C_Pin */
  GPIO_InitStruct.Pin = HALL_A_Pin|HALL_B_Pin|HALL_C_Pin;
  GPIO_InitStruct.Mode = GPIO_MODE_IT_RISING_FALLING;
  GPIO_InitStruct.Pull = GPIO_PULLDOWN;
  HAL_GPIO_Init(GPIOB, &GPIO_InitStruct);

  /*Configure GPIO pin : USB_PWRD_Pin */
  GPIO_InitStruct.Pin = USB_PWRD_Pin;
  GPIO_InitStruct.Mode = GPIO_MODE_INPUT;
  GPIO_InitStruct.Pull = GPIO_PULLDOWN;
  HAL_GPIO_Init(USB_PWRD_GPIO_Port, &GPIO_InitStruct);

  /*Configure GPIO pin : DISP_DC_Pin */
  GPIO_InitStruct.Pin = DISP_DC_Pin;
  GPIO_InitStruct.Mode = GPIO_MODE_OUTPUT_PP;
  GPIO_InitStruct.Pull = GPIO_NOPULL;
  GPIO_InitStruct.Speed = GPIO_SPEED_FREQ_LOW;
  HAL_GPIO_Init(DISP_DC_GPIO_Port, &GPIO_InitStruct);

  /* EXTI interrupt init*/
  HAL_NVIC_SetPriority(EXTI9_5_IRQn, 2, 0);
  HAL_NVIC_EnableIRQ(EXTI9_5_IRQn);

  HAL_NVIC_SetPriority(EXTI15_10_IRQn, 1, 0);
  HAL_NVIC_EnableIRQ(EXTI15_10_IRQn);

}

void Error_Handler(void)
{
  /* USER CODE BEGIN Error_Handler_Debug */
  /* User can add his own implementation to report the HAL error return state */
  __disable_irq();
  HAL_GPIO_WritePin(BT_PWRN_GPIO_Port, BT_PWRN_Pin, GPIO_PIN_SET);	// active low

  while (1)
  {
	  sos_error();
  }
  /* USER CODE END Error_Handler_Debug */
}
